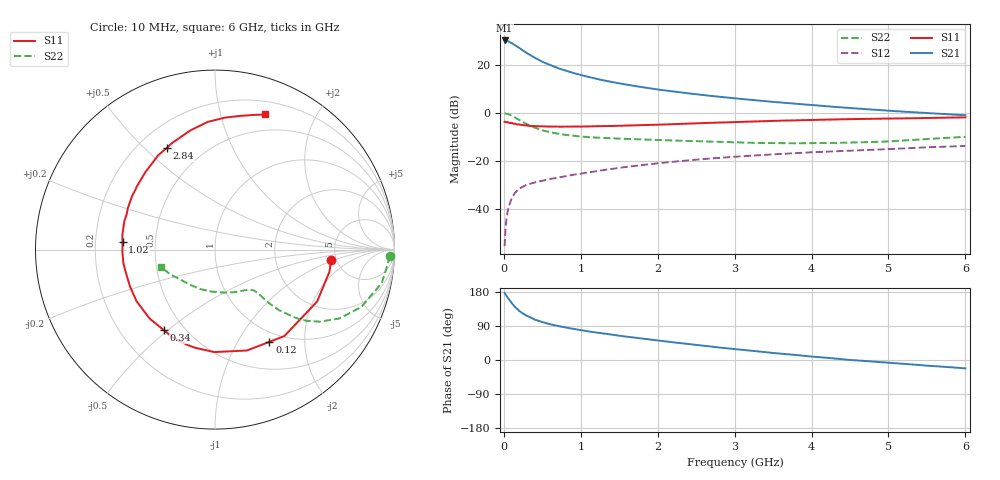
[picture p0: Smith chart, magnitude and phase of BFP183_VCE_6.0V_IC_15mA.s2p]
! Infineon Technologies  Discrete & RF Semiconductors
! BFP183
! VCE = 6.0 V,  IC =  15 mA
! Common Emitter S-Parameters:  Jan 2016
# GHz  S  MA  R  50
!  f  S11  S21  S12  S22
! GHz  MAG  ANG  MAG  ANG  MAG  ANG  MAG  ANG
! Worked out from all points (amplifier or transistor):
!   210 points, 10 MHz to 6 GHz, reference 50 ohm
!   highest |S21| = 30.0 dB at 10 MHz (marker M1)
!   |S21| within 3 dB of that: start of sweep to 195.4 MHz
!   unconditionally stable (mu >= 1): 999 MHz to 5.724 GHz
!   at 185 MHz: K = 0.31, MSG = 29.6 dB, |S12| = -31.9 dB
!   at 1.52 GHz: K = 1.11, MAG = 15.4 dB, |S12| = -22.8 dB
!   at 6 GHz: K = 0.96, MSG = 6.4 dB, |S12| = -13.8 dB
!   S11 on the Smith chart (normalised r, x): 10 MHz: 4.51, -0.92; 120 MHz: 0.86, -1.37; 340 MHz: 0.39, -0.48; 1.02 GHz: 0.32, +0.04; 2.84 GHz: 0.31, +0.59; 6 GHz: 0.33, +1.39
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0.01  0.6492 -5.2  31.65 176.5  0.0017 83.4  0.9761 -2.2
0.02  0.6496 -10.9  31.52 173.7  0.0035 89.9  0.9667 -4.5
0.05  0.6383 -27.0  30.77 164.3  0.0091 81.1  0.948 -11.3
0.1  0.6175 -51.3  28.08 150.6  0.0164 67.9  0.8756 -21.4
0.12  0.5966 -59.5  26.73 146.2  0.0187 64.7  0.8403 -24.3
0.15  0.5897 -72.4  25.04 138.9  0.0222 61.1  0.7917 -29.0
0.2  0.5709 -90.4  22.17 129.5  0.0266 55.3  0.7086 -34.5
0.24  0.5583 -101.0  19.94 123.7  0.0286 52.4  0.6511 -37.6
0.3  0.5436 -115.4  17.28 116.4  0.0321 49.3  0.5776 -40.6
0.34  0.5316 -122.5  15.88 113.0  0.0336 48.1  0.5429 -41.6
0.4  0.5294 -133.4  13.9 106.7  0.0358 46.5  0.4912 -43.4
0.5  0.5232 -146.6  11.45 99.9  0.0388 45.7  0.4327 -44.6
0.6  0.5165 -156.5  9.806 94.4  0.042 45.8  0.3939 -45.0
0.8  0.516 -171.6  7.503 85.7  0.048 47.1  0.348 -45.3
1.02  0.5172 175.1  5.946 78.1  0.0551 47.9  0.3188 -46.2
1.5  0.5377 154.6  4.072 64.0  0.0716 48.5  0.2902 -50.6
2.02  0.5659 137.3  3.009 51.1  0.0899 46.5  0.2715 -58.6
2.84  0.6276 115.3  2.114 32.1  0.117 40.9  0.2464 -76.7
3.1  0.647 109.5  1.925 26.9  0.1248 38.9  0.2392 -83.4
4.1  0.7165 91.7  1.403 7.5  0.1535 30.8  0.2343 -113.2
5.1  0.7606 78.6  1.077 -8.6  0.1786 23.8  0.2595 -141.6
6  0.8031 69.6  0.887 -22.1  0.2041 15.9  0.3169 -162.5
